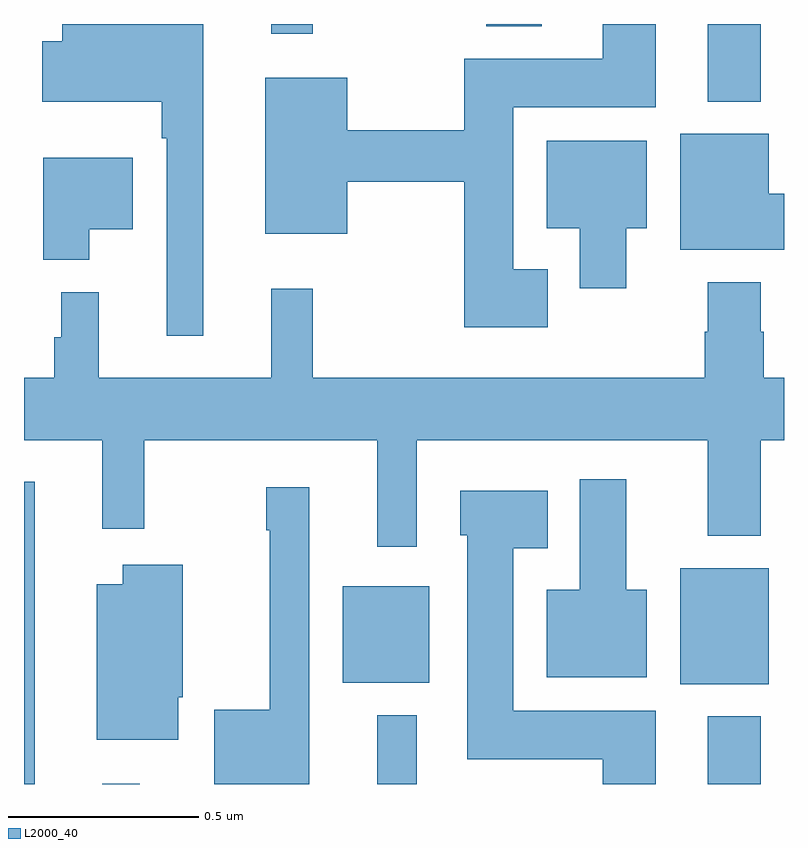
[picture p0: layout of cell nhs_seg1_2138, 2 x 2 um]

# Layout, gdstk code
import gdstk
lib = gdstk.Library(unit=1e-6, precision=1e-09)
def R(c, l, rs):  # rectangles x0, y0, x1, y1
    for r in rs: c.add(gdstk.rectangle(r[:2], r[2:], *l))
def P(c, l, *ps):  # polygons
    for p in ps: c.add(gdstk.Polygon(p, *l))
L2000_40 = (2000, 40)

nhs_seg1_2138 = lib.new_cell('nhs_seg1_2138')
R(nhs_seg1_2138, L2000_40, [(138,512.199,138.028,512.995), (138.206,512.199,138.305,512.2), (138.929,512.199,139.033,512.38), (139.799,512.199,139.939,512.377), (139.727,512.462,139.96,512.767), (138.839,512.465,139.066,512.719), (139.799,513.995,139.939,514.199), (138.65,514.173,138.76,514.199), (139.216,514.193,139.363,514.199)])
P(nhs_seg1_2138, L2000_40, [(138.472,514.199),(138.101,514.199),(138.101,514.153),(138.048,514.153),(138.048,513.995),(138.363,513.995),(138.363,513.899),(138.375,513.899),(138.375,513.378),(138.472,513.378)],
  [(139.378,513.553),(139.288,513.553),(139.288,513.98),(139.663,513.98),(139.663,514.199),(139.523,514.199),(139.523,514.108),(139.159,514.108),(139.159,513.92),(138.85,513.92),(138.85,514.057),(138.635,514.057),(138.635,513.647),(138.85,513.647),(138.85,513.784),(139.159,513.784),(139.159,513.401),(139.378,513.401)],
  [(140,513.752),(139.96,513.752),(139.96,513.91),(139.727,513.91),(139.727,513.605),(140,513.605)],
  [(139.585,513.662),(139.639,513.662),(139.639,513.892),(139.376,513.892),(139.376,513.662),(139.463,513.662),(139.463,513.504),(139.585,513.504)],
  [(138.172,513.659),(138.286,513.659),(138.286,513.847),(138.05,513.847),(138.05,513.578),(138.172,513.578)],
  [(139.799,513.52),(139.799,513.389),(139.792,513.389),(139.792,513.268),(138.76,513.268),(138.76,513.502),(138.65,513.502),(138.65,513.268),(138.197,513.268),(138.197,513.493),(138.098,513.493),(138.098,513.375),(138.079,513.375),(138.079,513.268),(138,513.268),(138,513.104),(138.206,513.104),(138.206,512.871),(138.316,512.871),(138.316,513.104),(138.929,513.104),(138.929,512.823),(139.033,512.823),(139.033,513.104),(139.799,513.104),(139.799,512.852),(139.939,512.852),(139.939,513.104),(140,513.104),(140,513.268),(139.947,513.268),(139.947,513.389),(139.939,513.389),(139.939,513.52)],
  [(139.639,512.71),(139.585,512.71),(139.585,513.001),(139.463,513.001),(139.463,512.71),(139.376,512.71),(139.376,512.48),(139.639,512.48)],
  [(138.751,512.98),(138.637,512.98),(138.637,512.867),(138.647,512.867),(138.647,512.395),(138.5,512.395),(138.5,512.199),(138.751,512.199)],
  [(139.663,512.392),(139.288,512.392),(139.288,512.819),(139.378,512.819),(139.378,512.971),(139.148,512.971),(139.148,512.853),(139.166,512.853),(139.166,512.264),(139.523,512.264),(139.523,512.199),(139.663,512.199)],
  [(138.406,512.427),(138.418,512.427),(138.418,512.776),(138.26,512.776),(138.26,512.725),(138.191,512.725),(138.191,512.315),(138.406,512.315)])

lib.write_gds('nhs_seg1_2138.gds')
